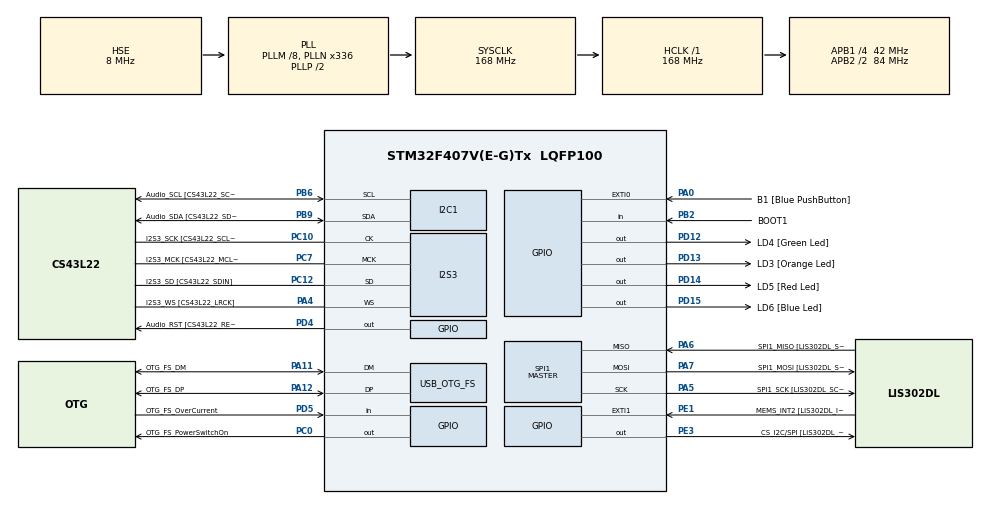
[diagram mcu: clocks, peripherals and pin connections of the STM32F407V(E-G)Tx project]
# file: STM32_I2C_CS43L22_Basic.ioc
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I2S3.AudioFreq-Half_Duplex_Master=I2S_AUDIOFREQ_96K
I2S3.ErrorAudioFreq=-2.34 %
I2S3.ErrorAudioFreq-Half_Duplex_Master=0.8 %
I2S3.FullDuplexMode=I2S_FULLDUPLEXMODE_DISABLE
I2S3.Instance=SPI$Index
I2S3.RealAudioFreq=93.75 KHz
I2S3.RealAudioFreq-Half_Duplex_Master=96.774 KHz
I2S3.VirtualMode=I2S_MODE_MASTER
Mcu.Family=STM32F4
Mcu.Name=STM32F407V(E-G)Tx
Mcu.Package=LQFP100
NVIC.OTG_FS_IRQn=true\:0\:0\:false\:false\:true\:true\:true\:true
NVIC.PriorityGroup=NVIC_PRIORITYGROUP_0
PA0-WKUP.GPIO_Label=B1 [Blue PushButton]
PA0-WKUP.GPIO_ModeDefaultEXTI=GPIO_MODE_EVT_RISING
PA0-WKUP.GPIO_PuPd=GPIO_NOPULL
PA0-WKUP.Signal=GPXTI0
PA10.GPIO_Label=OTG_FS_ID
PA10.GPIO_Mode=GPIO_MODE_AF_PP
PA10.GPIO_PuPd=GPIO_NOPULL
PA10.GPIO_Speed=GPIO_SPEED_FREQ_LOW
PA10.Signal=USB_OTG_FS_ID
PA11.GPIO_Label=OTG_FS_DM
PA11.GPIO_Mode=GPIO_MODE_AF_PP
PA11.GPIO_PuPd=GPIO_NOPULL
PA11.GPIO_Speed=GPIO_SPEED_FREQ_LOW
PA11.Mode=Device_Only
PA11.Signal=USB_OTG_FS_DM
PA12.GPIO_Label=OTG_FS_DP
PA12.GPIO_Mode=GPIO_MODE_AF_PP
PA12.GPIO_PuPd=GPIO_NOPULL
PA12.GPIO_Speed=GPIO_SPEED_FREQ_LOW
PA12.Mode=Device_Only
PA12.Signal=USB_OTG_FS_DP
PA13.GPIO_Label=SWDIO
PA13.Mode=Serial_Wire
PA13.Signal=SYS_JTMS-SWDIO
PA14.GPIO_Label=SWCLK
PA14.Mode=Serial_Wire
PA14.Signal=SYS_JTCK-SWCLK
PA4.GPIO_Label=I2S3_WS [CS43L22_LRCK]
PA4.GPIO_Mode=GPIO_MODE_AF_PP
PA4.GPIO_PuPd=GPIO_NOPULL
PA4.GPIO_Speed=GPIO_SPEED_FREQ_LOW
PA4.Mode=Half_Duplex_Master
PA4.Signal=I2S3_WS
PA5.GPIO_Label=SPI1_SCK [LIS302DL_SCL/SPC]
PA5.GPIO_Mode=GPIO_MODE_AF_PP
PA5.GPIO_PuPd=GPIO_NOPULL
PA5.GPIO_Speed=GPIO_SPEED_FREQ_LOW
PA5.Mode=Full_Duplex_Master
PA5.Signal=SPI1_SCK
PA6.GPIO_Label=SPI1_MISO [LIS302DL_SDO]
PA6.GPIO_Mode=GPIO_MODE_AF_PP
PA6.GPIO_PuPd=GPIO_NOPULL
PA6.GPIO_Speed=GPIO_SPEED_FREQ_LOW
PA6.Mode=Full_Duplex_Master
PA6.Signal=SPI1_MISO
PA7.GPIO_Label=SPI1_MOSI [LIS302DL_SDA/SDI/SDO]
PA7.GPIO_Mode=GPIO_MODE_AF_PP
PA7.GPIO_PuPd=GPIO_NOPULL
PA7.GPIO_Speed=GPIO_SPEED_FREQ_LOW
PA7.Mode=Full_Duplex_Master
PA7.Signal=SPI1_MOSI
PA9.GPIO_Label=VBUS_FS
PA9.GPIO_Mode=GPIO_MODE_INPUT
PA9.GPIO_PuPd=GPIO_NOPULL
PA9.Signal=USB_OTG_FS_VBUS
PB10.GPIO_Label=CLK_IN [MP45DT02_CLK]
PB10.GPIO_Mode=GPIO_MODE_AF_PP
PB10.GPIO_PuPd=GPIO_NOPULL
PB10.GPIO_Speed=GPIO_SPEED_FREQ_LOW
PB10.Signal=I2S2_CK
PB2.GPIO_Label=BOOT1
PB2.GPIO_Mode=GPIO_MODE_INPUT
PB2.GPIO_PuPd=GPIO_NOPULL
PB2.Signal=GPIO_Input
PB3.GPIO_Label=SWO
PB3.Signal=SYS_JTDO-SWO
PB6.GPIO_Label=Audio_SCL [CS43L22_SCL]
PB6.GPIO_Mode=GPIO_MODE_AF_OD
PB6.GPIO_Pu=GPIO_PULLUP
PB6.GPIO_PuPd=GPIO_NOPULL
PB6.GPIO_Speed=GPIO_SPEED_FREQ_LOW
PB6.Mode=I2C
PB6.Signal=I2C1_SCL
PB9.GPIO_Label=Audio_SDA [CS43L22_SDA]
PB9.GPIO_Mode=GPIO_MODE_AF_OD
PB9.GPIO_Pu=GPIO_PULLUP
PB9.GPIO_PuPd=GPIO_NOPULL
PB9.GPIO_Speed=GPIO_SPEED_FREQ_LOW
PB9.Mode=I2C
PB9.Signal=I2C1_SDA
PC0.GPIO_Label=OTG_FS_PowerSwitchOn
PC0.GPIO_PuPd=GPIO_NOPULL
PC0.GPIO_Speed=GPIO_SPEED_FREQ_LOW
PC0.PinState=GPIO_PIN_SET
PC0.Signal=GPIO_Output
PC10.GPIO_Label=I2S3_SCK [CS43L22_SCLK]
PC10.GPIO_Mode=GPIO_MODE_AF_PP
PC10.GPIO_PuPd=GPIO_NOPULL
PC10.GPIO_Speed=GPIO_SPEED_FREQ_LOW
PC10.Mode=Half_Duplex_Master
PC10.Signal=I2S3_CK
PC12.GPIO_Label=I2S3_SD [CS43L22_SDIN]
PC12.GPIO_Mode=GPIO_MODE_AF_PP
PC12.GPIO_PuPd=GPIO_NOPULL
PC12.GPIO_Speed=GPIO_SPEED_FREQ_LOW
PC12.Mode=Half_Duplex_Master
PC12.Signal=I2S3_SD
PC14-OSC32_IN.GPIO_Label=PC14-OSC32_IN
PC14-OSC32_IN.Mode=LSE-External-Oscillator
PC14-OSC32_IN.Signal=RCC_OSC32_IN
PC15-OSC32_OUT.GPIO_Label=PC15-OSC32_OUT
PC15-OSC32_OUT.Mode=LSE-External-Oscillator
PC15-OSC32_OUT.Signal=RCC_OSC32_OUT
PC3.GPIO_Label=PDM_OUT [MP45DT02_DOUT]
PC3.GPIO_Mode=GPIO_MODE_AF_PP
PC3.GPIO_PuPd=GPIO_NOPULL
PC3.GPIO_Speed=GPIO_SPEED_FREQ_LOW
PC3.Signal=I2S2_SD
PC7.GPIO_Label=I2S3_MCK [CS43L22_MCLK]
PC7.GPIO_Mode=GPIO_MODE_AF_PP
PC7.GPIO_PuPd=GPIO_NOPULL
PC7.GPIO_Speed=GPIO_SPEED_FREQ_LOW
PC7.Mode=Master_Clock_Activated
PC7.Signal=I2S3_MCK
PD12.GPIO_Label=LD4 [Green Led]
PD12.GPIO_PuPd=GPIO_NOPULL
PD12.GPIO_Speed=GPIO_SPEED_FREQ_LOW
PD12.Signal=GPIO_Output
PD13.GPIO_Label=LD3 [Orange Led]
PD13.GPIO_PuPd=GPIO_NOPULL
PD13.GPIO_Speed=GPIO_SPEED_FREQ_LOW
PD13.Signal=GPIO_Output
PD14.GPIO_Label=LD5 [Red Led]
PD14.GPIO_PuPd=GPIO_NOPULL
PD14.GPIO_Speed=GPIO_SPEED_FREQ_LOW
PD14.Signal=GPIO_Output
PD15.GPIO_Label=LD6 [Blue Led]
PD15.GPIO_PuPd=GPIO_NOPULL
PD15.GPIO_Speed=GPIO_SPEED_FREQ_LOW
PD15.Signal=GPIO_Output
PD4.GPIO_Label=Audio_RST [CS43L22_RESET]
PD4.GPIO_PuPd=GPIO_NOPULL
PD4.GPIO_Speed=GPIO_SPEED_FREQ_LOW
PD4.Signal=GPIO_Output
PD5.GPIO_Label=OTG_FS_OverCurrent
PD5.GPIO_Mode=GPIO_MODE_INPUT
PD5.GPIO_PuPd=GPIO_NOPULL
PD5.Signal=GPIO_Input
PE1.GPIO_Label=MEMS_INT2 [LIS302DL_INT2]
PE1.GPIO_ModeDefaultEXTI=GPIO_MODE_EVT_RISING
PE1.GPIO_PuPd=GPIO_NOPULL
PE1.Signal=GPXTI1
PE3.GPIO_Label=CS_I2C/SPI [LIS302DL_CS_I2C/SPI]
PE3.GPIO_PuPd=GPIO_NOPULL
PE3.GPIO_Speed=GPIO_SPEED_FREQ_LOW
PE3.Signal=GPIO_Output
PH0-OSC_IN.GPIO_Label=PH0-OSC_IN
PH0-OSC_IN.Mode=HSE-External-Oscillator
PH0-OSC_IN.Signal=RCC_OSC_IN
PH1-OSC_OUT.GPIO_Label=PH1-OSC_OUT
PH1-OSC_OUT.Mode=HSE-External-Oscillator
PH1-OSC_OUT.Signal=RCC_OSC_OUT
ProjectManager.HeapSize=0x200
ProjectManager.StackSize=0x400
ProjectManager.TargetToolchain=STM32CubeIDE
RCC.48MHZClocksFreq_Value=48000000
RCC.AHBFreq_Value=168000000
RCC.APB1CLKDivider=RCC_HCLK_DIV4
RCC.APB1Freq_Value=42000000
RCC.APB1TimFreq_Value=84000000
RCC.APB2CLKDivider=RCC_HCLK_DIV2
RCC.APB2Freq_Value=84000000
RCC.APB2TimFreq_Value=168000000
RCC.CortexFreq_Value=168000000
RCC.HCLKFreq_Value=168000000
RCC.HSE_VALUE=8000000
RCC.HSI_VALUE=16000000
RCC.PLLM=8
RCC.PLLN=336
RCC.PLLQ=7
RCC.SYSCLKFreq_VALUE=168000000
RCC.SYSCLKSource=RCC_SYSCLKSOURCE_PLLCLK
RCC.VCOOutputFreq_Value=336000000
SPI1.BaudRatePrescaler-Full_Duplex_Master=SPI_BAUDRATEPRESCALER_2
SPI1.CalculateBaudRate-Full_Duplex_Master=42.0 MBits/s
SPI1.Direction=SPI_DIRECTION_2LINES
SPI1.Mode=SPI_MODE_MASTER
SPI1.Mode-Full_Duplex_Master=SPI_MODE_MASTER
SPI1.VirtualType=VM_MASTER
USB_DEVICE.CLASS_NAME_FS=CDC
USB_DEVICE.PRODUCT_STRING_CDC_FS=STM32 Disco Virtual ComPort
USB_DEVICE.VirtualMode-CDC_FS=Cdc
USB_DEVICE.VirtualModeFS=Cdc_FS
USB_OTG_FS.VirtualMode=Device_Only
VP_USB_DEVICE_VS_USB_DEVICE_CDC_FS.Mode=CDC_FS
board=STM32F407G-DISC1

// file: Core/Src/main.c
/* USER CODE BEGIN Header */
/**
  ******************************************************************************
  * @file           : main.c
  * @brief          : Main program body
  ******************************************************************************
  * @attention
  *
  * <h2><center>&copy; Copyright (c) 2022 STMicroelectronics.
  * All rights reserved.</center></h2>
  *
  * This software component is licensed by ST under Ultimate Liberty license
  * SLA0044, the "License"; You may not use this file except in compliance with
  * the License. You may obtain a copy of the License at:
  *                             www.st.com/SLA0044
  *
  ******************************************************************************
  */
/* USER CODE END Header */
#include "main.h"
#include "i2c.h"
#include "i2s.h"
#include "spi.h"
#include "usb_device.h"
#include "gpio.h"

/* USER CODE BEGIN PV */
#define BUFSIZE 256
char	SendBuffer[BUFSIZE];
int	Counter;
int KeyState=0;

HAL_StatusTypeDef retval;
uint8_t ChipID;
/* USER CODE END PV */

void SystemClock_Config(void);

int main(void)
{

  /* MCU Configuration--------------------------------------------------------*/

  /* Reset of all peripherals, Initializes the Flash interface and the Systick. */
  HAL_Init();

  /* Configure the system clock */
  SystemClock_Config();

  /* Initialize all configured peripherals */
  MX_GPIO_Init();
  MX_I2C1_Init();
  MX_I2S3_Init();
  MX_SPI1_Init();
  MX_USB_DEVICE_Init();
  /* USER CODE BEGIN 2 */

  HAL_GPIO_WritePin(GPIOD, GPIO_PIN_4,GPIO_PIN_SET);   // Set Reset line to 1 (switch device on)

  HAL_Delay(1000);   // recomended by datasheet

  // From Device with address=0x94, Read register with address 0x01 and put value in ChipID
  // DevAddress_0x94, tMemAddress=0x01, MemAddSize=8b, *pData,Size, Timeout);
  retval = HAL_I2C_Mem_Read(&hi2c1, 0x94, 0x01, I2C_MEMADD_SIZE_8BIT, &ChipID, 1, 1000);

  /* USER CODE END 2 */

  /* Infinite loop */
  /* USER CODE BEGIN WHILE */
  while (1)
  {

	 HAL_GPIO_TogglePin(GPIOD, GPIO_PIN_12);
	 HAL_GPIO_TogglePin(GPIOD, GPIO_PIN_13);
	 HAL_GPIO_TogglePin(GPIOD, GPIO_PIN_14);

	 KeyState = HAL_GPIO_ReadPin(GPIOA, GPIO_PIN_0);
	 HAL_GPIO_WritePin(GPIOD, GPIO_PIN_15, KeyState);

	  snprintf(SendBuffer,BUFSIZE,"Hello World [%d]: Key:%d | Id:%02x \r\n",Counter++,KeyState,ChipID);
	  CDC_Transmit_FS(SendBuffer,strlen(SendBuffer));

    /* USER CODE END WHILE */

    /* USER CODE BEGIN 3 */
	  HAL_Delay(1000);
  }
  /* USER CODE END 3 */
}

void SystemClock_Config(void)
{
  RCC_OscInitTypeDef RCC_OscInitStruct = {0};
  RCC_ClkInitTypeDef RCC_ClkInitStruct = {0};

  /** Configure the main internal regulator output voltage
  */
  __HAL_RCC_PWR_CLK_ENABLE();
  __HAL_PWR_VOLTAGESCALING_CONFIG(PWR_REGULATOR_VOLTAGE_SCALE1);

  /** Initializes the RCC Oscillators according to the specified parameters
  * in the RCC_OscInitTypeDef structure.
  */
  RCC_OscInitStruct.OscillatorType = RCC_OSCILLATORTYPE_HSE;
  RCC_OscInitStruct.HSEState = RCC_HSE_ON;
  RCC_OscInitStruct.PLL.PLLState = RCC_PLL_ON;
  RCC_OscInitStruct.PLL.PLLSource = RCC_PLLSOURCE_HSE;
  RCC_OscInitStruct.PLL.PLLM = 8;
  RCC_OscInitStruct.PLL.PLLN = 336;
  RCC_OscInitStruct.PLL.PLLP = RCC_PLLP_DIV2;
  RCC_OscInitStruct.PLL.PLLQ = 7;
  if (HAL_RCC_OscConfig(&RCC_OscInitStruct) != HAL_OK)
  {
    Error_Handler();
  }

  /** Initializes the CPU, AHB and APB buses clocks
  */
  RCC_ClkInitStruct.ClockType = RCC_CLOCKTYPE_HCLK|RCC_CLOCKTYPE_SYSCLK
                              |RCC_CLOCKTYPE_PCLK1|RCC_CLOCKTYPE_PCLK2;
  RCC_ClkInitStruct.SYSCLKSource = RCC_SYSCLKSOURCE_PLLCLK;
  RCC_ClkInitStruct.AHBCLKDivider = RCC_SYSCLK_DIV1;
  RCC_ClkInitStruct.APB1CLKDivider = RCC_HCLK_DIV4;
  RCC_ClkInitStruct.APB2CLKDivider = RCC_HCLK_DIV2;

  if (HAL_RCC_ClockConfig(&RCC_ClkInitStruct, FLASH_LATENCY_5) != HAL_OK)
  {
    Error_Handler();
  }
}

void Error_Handler(void)
{
  __disable_irq();
  while (1)
  {
  }
}
